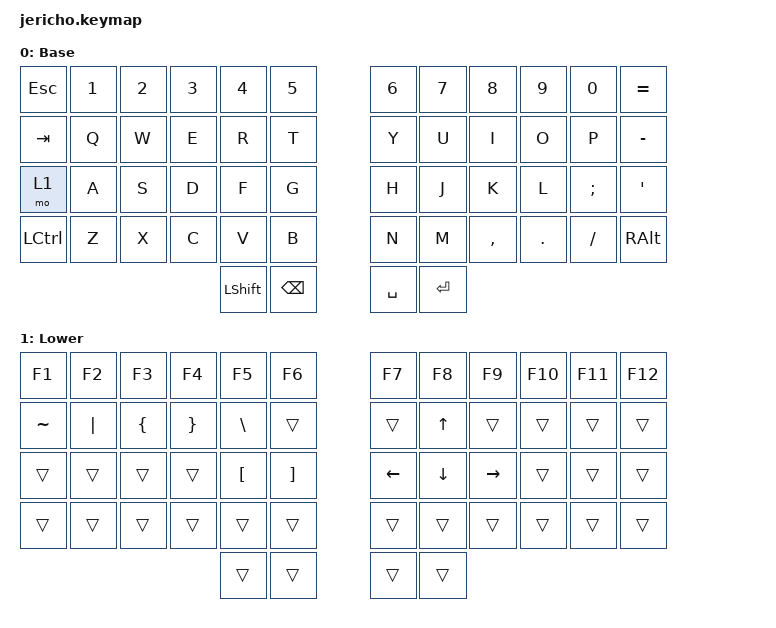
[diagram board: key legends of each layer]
/*
 * Jericho V3 - default keymap
 *
 * Binding order on every layer MUST follow the matrix_transform map in
 * jericho.overlay: row3, row2, row1, row0 (12 keys each, left to right),
 * then the 4 thumb keys (row4, columns 4-7). Swap keys around freely,
 * just keep the same number/order of bindings per layer (52 total).
 */

#include <behaviors.dtsi>
#include <dt-bindings/zmk/keys.h>
#include <dt-bindings/zmk/bt.h>
#include <dt-bindings/zmk/outputs.h>

/ {
    keymap {
        compatible = "zmk,keymap";

        default_layer {
            display-name = "Base";
            bindings = <
&kp ESC    &kp N1 &kp N2 &kp N3 &kp N4 &kp N5      &kp N6 &kp N7    &kp N8   &kp N9    &kp N0     &kp EQUAL
&kp TAB    &kp Q  &kp W  &kp E  &kp R  &kp T       &kp Y  &kp U     &kp I    &kp O     &kp P     &kp MINUS
&mo 1      &kp A  &kp S  &kp D  &kp F  &kp G       &kp H  &kp J     &kp K    &kp L     &kp SEMI  &kp SQT
&kp LCTRL  &kp Z  &kp X  &kp C  &kp V  &kp B       &kp N  &kp M     &kp COMMA &kp DOT  &kp FSLH  &kp RALT
                         &kp LSHIFT &kp BSPC               &kp SPACE &kp RET
            >;
        };

        lower_layer {
            display-name = "Lower";
            bindings = <
&kp F1    &kp F2   &kp F3   &kp F4   &kp F5   &kp F6      &kp F7    &kp F8     &kp F9    &kp F10   &kp F11 &kp F12
&kp TILDE &kp PIPE &kp LBRC &kp RBRC &kp BSLH &trans      &trans    &kp UP     &trans    &trans    &trans  &trans
&trans    &trans   &trans   &trans   &kp LBKT &kp RBKT    &kp LEFT  &kp DOWN   &kp RIGHT &trans    &trans  &trans
&trans    &trans   &trans   &trans   &trans   &trans      &trans    &trans     &trans    &trans    &trans  &trans
                       &trans &trans                 &trans    &trans
            >;
        };
    };
};
